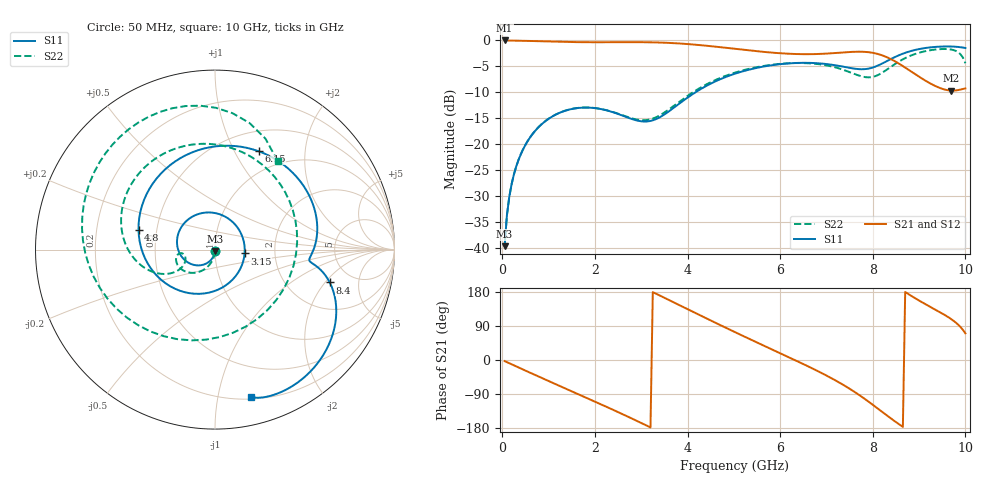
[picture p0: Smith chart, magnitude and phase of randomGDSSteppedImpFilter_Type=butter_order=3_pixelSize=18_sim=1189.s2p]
! freq	dB(S11)	phase(S11)	dB(S12)	phase(S12)
!  dB(S21)	phase(S21)	dB(S22)	phase(S22)
!S-par simulation data
#  GHz  S  DB  R 50
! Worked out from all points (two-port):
!   200 points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, 50 MHz to 10 GHz, reference 50 ohm
!   highest |S21| = 0.00 dB at 50 MHz (marker M1); lowest = -9.7 dB at 9.7 GHz (marker M2)
!   |S21| within 3 dB of the highest: start of sweep to 8.244 GHz
!   lowest |S11| = -39.6 dB at 50 MHz (marker M3), VSWR 1.02, Z = 49.9 - j1.04 ohm
!   |S11| at or under -10 dB: start of sweep to 4.169 GHz
!   |S22| runs from -39.6 to -1.6 dB; largest |S21 - S12| = 0
!   S11 on the Smith chart (normalised r, x): 50 MHz: 1.00, -0.02; 3.15 GHz: 1.39, -0.06; 4.8 GHz: 0.39, +0.11; 6.15 GHz: 0.73, +1.26; 8.4 GHz: 3.41, -2.24; 10 GHz: 0.22, -1.25
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0.05  -39.61 -92.9  -0.00 -2.9  -0.00 -2.9  -39.61 -91.7
0.2  -27.72 -103.8  -0.03 -11.3  -0.03 -11.3  -27.71 -98.7
0.5  -20.11 -124.9  -0.08 -28.0  -0.08 -28.0  -20.09 -112.1
1.15  -14.29 -170.1  -0.24 -63.6  -0.24 -63.6  -14.28 -138.5
1.75  -12.93 145.8  -0.34 -96.1  -0.34 -96.1  -12.92 -159.3
2.4  -13.85 89.0  -0.34 -131.8  -0.34 -131.8  -13.81 -173.3
3.15  -15.58 -7.5  -0.35 -175.0  -0.35 -175.0  -15.28 -162.5
3.4  -14.80 -45.3  -0.40 170.2  -0.40 170.2  -14.43 -154.9
4.1  -10.40 -130.8  -0.77 128.2  -0.77 128.2  -10.08 -154.3
4.8  -7.12 165.4  -1.39 86.6  -1.39 86.6  -6.89 -173.5
5.05  -6.33 145.1  -1.64 72.1  -1.64 72.1  -6.13 177.8
6.15  -4.44 66.1  -2.55 9.4  -2.55 9.4  -4.41 132.5
6.7  -4.34 33.2  -2.64 -22.5  -2.64 -22.5  -4.45 102.7
7.2  -4.80 8.9  -2.42 -54.2  -2.42 -54.2  -5.21 65.3
7.7  -5.53 -5.3  -2.17 -91.8  -2.17 -91.8  -6.76 4.8
8  -5.22 -8.1  -2.38 -118.1  -2.38 -118.1  -7.02 -48.8
8.35  -3.77 -14.5  -3.41 -150.4  -3.41 -150.4  -5.34 -112.7
8.4  -3.54 -16.0  -3.63 -154.9  -3.63 -154.9  -5.03 -120.6
8.7  -2.39 -27.2  -5.22 179.5  -5.22 179.5  -3.40 -161.6
9  -1.66 -39.8  -6.99 156.8  -6.99 156.8  -2.37 166.2
9.7  -1.17 -67.1  -9.66 107.4  -9.66 107.4  -1.76 101.6
10  -1.46 -76.3  -9.24 70.2  -9.24 70.2  -4.38 54.7
